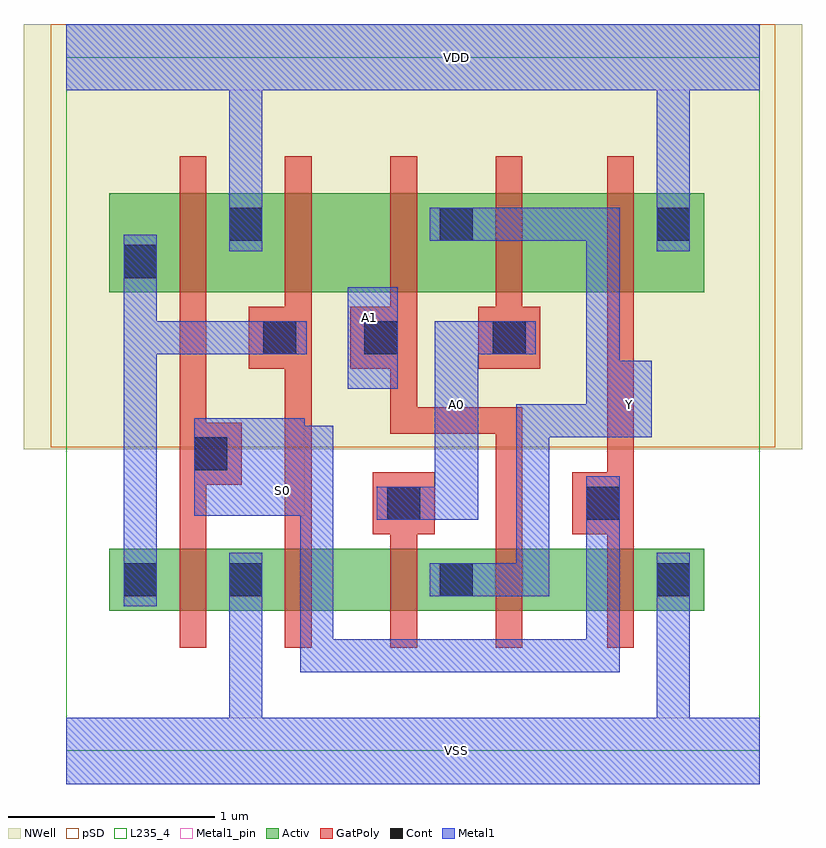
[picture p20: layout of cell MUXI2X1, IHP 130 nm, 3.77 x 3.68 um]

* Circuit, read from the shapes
.subckt MUXI2X1 A0 A1 S0 VDD VSS Y
XM1 VSS S0 n1 VSUBS sg13_lv_nmos w=0.3u l=0.13u
XM2 n2 n1 VSS VSUBS sg13_lv_nmos w=0.3u l=0.13u
XM3 Y A0 n2 VSUBS sg13_lv_nmos w=0.3u l=0.13u
XM4 n3 A1 Y VSUBS sg13_lv_nmos w=0.3u l=0.13u
XM5 VSS S0 n3 VSUBS sg13_lv_nmos w=0.3u l=0.13u
XM6 VDD S0 n1 n4 sg13_lv_pmos w=0.48u l=0.13u
XM7 n5 n1 VDD n4 sg13_lv_pmos w=0.48u l=0.13u
XM8 Y A1 n5 n4 sg13_lv_pmos w=0.48u l=0.13u
XM9 n6 A0 Y n4 sg13_lv_pmos w=0.48u l=0.13u
XM10 VDD S0 n6 n4 sg13_lv_pmos w=0.48u l=0.13u
.ends

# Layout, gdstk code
from math import pi, radians
import gdstk
lib = gdstk.Library(unit=1e-6, precision=1e-09)
def R(c, l, rs):  # rectangles x0, y0, x1, y1
    for r in rs: c.add(gdstk.rectangle(r[:2], r[2:], *l))
def P(c, l, *ps):  # polygons
    for p in ps: c.add(gdstk.Polygon(p, *l))
Activ = (1, 0)
GatPoly = (5, 0)
Cont = (6, 0)
Metal1 = (8, 0)
Metal1_pin = (8, 2)
pSD = (14, 0)
NWell = (31, 0)
L235_4 = (235, 4)

m1_gatpoly_cdns_76434123 = lib.new_cell('M1_GatPoly_CDNS_764341231940')
R(m1_gatpoly_cdns_76434123, GatPoly, [(-0.15,-0.15,0.15,0.15)])
R(m1_gatpoly_cdns_76434123, Cont, [(-0.08,-0.08,0.08,0.08)])
R(m1_gatpoly_cdns_76434123, Metal1, [(-0.13,-0.08,0.13,0.08)])

c_m1_gatpoly_cdns_76434123 = lib.new_cell('M1_GatPoly_CDNS_764341231942')
R(c_m1_gatpoly_cdns_76434123, GatPoly, [(-0.15,-0.15,0.15,0.15)])
R(c_m1_gatpoly_cdns_76434123, Cont, [(-0.08,-0.08,0.08,0.08)])
R(c_m1_gatpoly_cdns_76434123, Metal1, [(-0.08,-0.13,0.08,0.13)])

muxi2x1 = lib.new_cell('MUXI2X1')
R(muxi2x1, Activ, [(0.21,0.68,3.09,0.98), (0.21,2.22,3.09,2.7)])
R(muxi2x1, GatPoly, [(0.55,0.5,0.68,2.88), (1.06,0.5,1.19,2.88), (1.57,0.5,1.7,1.16), (2.62,0.5,2.75,2.88), (2.08,2.03,2.21,2.88)])
P(muxi2x1, GatPoly, [(2.08,0.5),(2.08,1.535),(1.57,1.535),(1.57,2.88),(1.7,2.88),(1.7,1.665),(2.21,1.665),(2.21,0.5)])
R(muxi2x1, Cont, [(0.28,0.75,0.44,0.91), (0.79,0.75,0.95,0.91), (1.81,0.75,1.97,0.91), (1.81,0.75,1.97,0.91), (2.86,0.75,3.02,0.91), (2.86,0.75,3.02,0.91), (0.28,2.29,0.44,2.45), (0.79,2.47,0.95,2.63), (1.81,2.47,1.97,2.63), (2.86,2.47,3.02,2.63), (2.86,2.47,3.02,2.63)])
R(muxi2x1, Metal1, [(2.52,1.52,2.835,1.89), (1.365,1.755,1.605,2.245)])
P(muxi2x1, Metal1, [(0,-0.16),(0,0.16),(0.79,0.16),(0.79,0.96),(0.95,0.96),(0.95,0.16),(2.86,0.16),(2.86,0.96),(3.02,0.96),(3.02,0.16),(3.36,0.16),(3.36,-0.16)],
  [(0.79,2.42),(0.79,3.2),(0,3.2),(0,3.52),(3.36,3.52),(3.36,3.2),(3.02,3.2),(3.02,2.42),(2.86,2.42),(2.86,3.2),(0.95,3.2),(0.95,2.42)],
  [(1.76,0.75),(1.76,0.91),(2.18,0.91),(2.18,1.68),(2.52,1.68),(2.52,2.47),(1.76,2.47),(1.76,2.63),(2.68,2.63),(2.68,1.52),(2.34,1.52),(2.34,0.75)],
  [(1.135,0.38),(1.135,1.14),(0.62,1.14),(0.62,1.61),(1.155,1.61),(1.155,1.575),(1.295,1.575),(1.295,0.54),(2.52,0.54),(2.52,1.325),(2.68,1.325),(2.68,0.38)],
  [(1.635,1.12),(1.635,1.28),(1.785,1.28),(1.785,2.08),(2.035,2.08),(2.035,1.92),(1.995,1.92),(1.995,1.12)],
  [(0.28,0.7),(0.28,2.5),(0.44,2.5),(0.44,2.08),(1.035,2.08),(1.035,1.92),(0.44,1.92),(0.44,0.7)])
R(muxi2x1, Metal1_pin, [(0,-0.16,3.36,0.16), (1.76,0.75,2.34,0.91), (2.18,0.75,2.34,1.68), (1.785,1.12,1.995,2.08), (0.62,1.14,1.155,1.61), (2.18,1.52,2.68,1.68), (2.52,1.52,2.68,2.63), (2.52,1.52,2.835,1.89), (1.365,1.755,1.605,2.245), (1.76,2.47,2.52,2.63), (0,3.2,3.36,3.52)])
R(muxi2x1, pSD, [(-0.075,1.47,3.435,3.52)])
R(muxi2x1, NWell, [(-0.205,1.46,3.565,3.52)])
R(muxi2x1, L235_4, [(0,0,3.36,3.36)])
muxi2x1.add(gdstk.Reference(m1_gatpoly_cdns_76434123, (2.145,2)))
muxi2x1.add(gdstk.Reference(m1_gatpoly_cdns_76434123, (1.635,1.2)))
muxi2x1.add(gdstk.Reference(m1_gatpoly_cdns_76434123, (1.035,2)))
muxi2x1.add(gdstk.Reference(c_m1_gatpoly_cdns_76434123, (2.6,1.2)))
muxi2x1.add(gdstk.Reference(c_m1_gatpoly_cdns_76434123, (1.525,2)))
muxi2x1.add(gdstk.Reference(c_m1_gatpoly_cdns_76434123, (0.7,1.44), rotation=pi, x_reflection=True))
muxi2x1.add(gdstk.Label('Y', (2.73,1.68), layer=8, texttype=25))
muxi2x1.add(gdstk.Label('VDD', (1.89,3.36), layer=8, texttype=25))
muxi2x1.add(gdstk.Label('VSS', (1.89,0), layer=8, texttype=25))
muxi2x1.add(gdstk.Label('A0', (1.89,1.68), layer=8, texttype=25))
muxi2x1.add(gdstk.Label('A1', (1.47,2.1), layer=8, texttype=25))
muxi2x1.add(gdstk.Label('S0', (1.05,1.26), layer=8, texttype=25))

lib.write_gds('MUXI2X1.gds')
